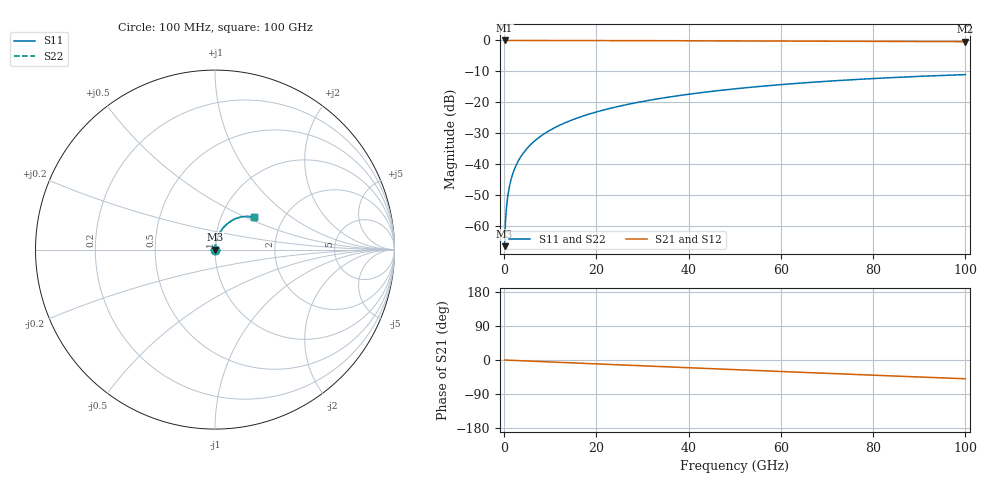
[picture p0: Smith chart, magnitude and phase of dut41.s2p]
! Touchstone file exported from HFSS 2026.1.0
!  File:  C:/ffzhzh/LocalFiles/Ansys_Project_Files/temp_train_TSV_41_1783504756_44152.aedt
!  Generated:  06:00:45 PM Jul  8, 2026
!  Design:  TSV
!  Project:  temp_train_TSV_41_1783504756_44152
! Variables:
!  h_bsmrdl = 2um
!  h_ox = 20um
!  h_rdl = 5um
!  h_sub = 93.91um
!  h_tmrdl = 5um
!  h_tsv = 93.91um
!  h_via = 3um
!  l_bsmrdl = 300um
!  l_sub = 413.78um
!  l_tmrdl = 200um
!  m_sub = 200um
!  pitch = 49.79um
!  r_tsv = 6.89um
!  s_tmrdl = 10um
!  w_bsmrdl = 18um
!  w_sub = 500um
!  w_tmrdl = 12um
!  x_tsv_center1 = 206um
!  x_tsv_center2 = 524um
!  x_tsv_center3 = 736um
!  x_tsv_center4 = 1054um
!  x_tsv_center5 = 1266um
!  x_tsv_center6 = 1584um
# GHz S MA R 50.000000
! Terminal data exported
! Port[1] = TSV1_1_T1
! Port[2] = TSV1_1_T2
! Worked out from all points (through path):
!   1000 points, 100 MHz to 100 GHz, reference 50 ohm
!   highest |S21| = 0.00 dB at 100 MHz (marker M1); lowest = -0.4 dB at 100 GHz (marker M2)
!   group delay of S21, straight-line fit = 1.38 ps
!   lowest |S11| = -66.4 dB at 100 MHz (marker M3), VSWR 1.00, Z = 50 + j0.0401 ohm
!   |S11| at or under -10 dB: start of sweep to end of sweep
!   |S22| runs from -66.4 to -11.0 dB; largest |S21 - S12| = 6.3e-15
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0.1  0.0004777 57.0  0.9997 -0.1  0.9997 -0.1  0.0004777 57.0
! Gamma 0 0 0 0
! Port Impedance 50 0 50 0
0.4  0.0016 78.7  0.9997 -0.2  0.9997 -0.2  0.0016 78.7
0.7  0.002727 82.1  0.9996 -0.4  0.9996 -0.4  0.002727 82.1
0.8  0.0031 82.6  0.9996 -0.4  0.9996 -0.4  0.0031 82.6
1  0.003846 83.4  0.9996 -0.5  0.9996 -0.5  0.003846 83.4
1.3  0.004957 84.0  0.9995 -0.7  0.9995 -0.7  0.004957 84.0
1.7  0.006427 84.4  0.9995 -0.9  0.9995 -0.9  0.006427 84.4
2.3  0.008604 84.6  0.9993 -1.2  0.9993 -1.2  0.008604 84.6
3  0.01111 84.7  0.9992 -1.6  0.9992 -1.6  0.01111 84.7
3.8  0.01396 84.6  0.9991 -2.0  0.9991 -2.0  0.01396 84.6
4.8  0.01749 84.5  0.9989 -2.5  0.9989 -2.5  0.01749 84.5
6  0.02172 84.2  0.9987 -3.1  0.9987 -3.1  0.02172 84.2
8.8  0.03154 83.2  0.9983 -4.6  0.9983 -4.6  0.03154 83.2
12.4  0.04407 81.6  0.9975 -6.4  0.9975 -6.4  0.04407 81.6
16.8  0.05922 79.6  0.9965 -8.7  0.9965 -8.7  0.05922 79.6
24.2  0.08427 76.1  0.9944 -12.4  0.9944 -12.4  0.08427 76.1
33.4  0.1145 71.7  0.991 -17.1  0.991 -17.1  0.1145 71.7
41.2  0.1391 67.9  0.9876 -21.0  0.9876 -21.0  0.1391 67.9
50.1  0.1658 63.5  0.9833 -25.5  0.9833 -25.5  0.1658 63.5
66.7  0.2111 55.5  0.9742 -33.7  0.9742 -33.7  0.2111 55.5
83.4  0.2499 47.5  0.9647 -41.7  0.9647 -41.7  0.2499 47.6
100  0.2808 39.8  0.9559 -49.6  0.9559 -49.6  0.2808 39.8
